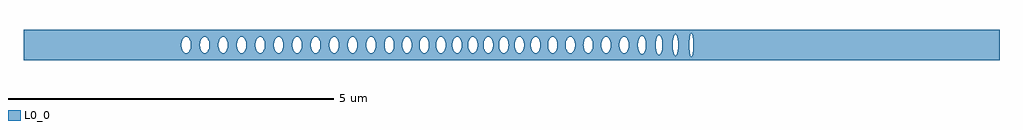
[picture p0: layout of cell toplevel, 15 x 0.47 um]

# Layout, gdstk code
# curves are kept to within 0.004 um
import gdstk
lib = gdstk.Library(unit=1e-6, precision=1e-09)
def P(c, l, *ps):  # polygons
    for p in ps: c.add(gdstk.Polygon(p, *l))
L0_0 = (0, 0)

toplevel = lib.new_cell('toplevel')
P(toplevel, L0_0, [(-4.459,-0.234),(-4.459,-0.119),(-4.491,-0.075),(-4.504,-0.016),(-4.498,0.054),(-4.482,0.093),(-4.459,0.119),(-4.459,0.234),(-7.5,0.234),(-7.5,-0.008),(-5.073,-0.008),(-5.068,0.047),(-5.05,0.093),(-5.027,0.119),(-5.001,0.128),(-4.974,0.119),(-4.951,0.093),(-4.933,0.047),(-4.928,-0.008),(-4.789,-0.008),(-4.784,0.047),(-4.766,0.093),(-4.743,0.119),(-4.716,0.128),(-4.69,0.119),(-4.67,0.098),(-4.655,0.068),(-4.644,0.016),(-4.647,-0.039),(-4.658,-0.075),(-4.681,-0.112),(-4.716,-0.128),(-4.743,-0.119),(-4.766,-0.093),(-4.784,-0.047),(-4.789,-0.008),(-4.928,-0.008),(-4.939,-0.068),(-4.954,-0.098),(-4.974,-0.119),(-5.001,-0.128),(-5.027,-0.119),(-5.047,-0.098),(-5.062,-0.068),(-5.073,-0.008),(-7.5,-0.008),(-7.5,-0.234)],
  [(-3.935,0.016),(-3.931,0.047),(-3.913,0.093),(-3.898,0.112),(-3.877,0.125),(-3.85,0.125),(-3.829,0.112),(-3.814,0.093),(-3.796,0.047),(-3.796,0.234),(-4.459,0.234),(-4.459,0.119),(-4.432,0.128),(-4.418,0.125),(-4.389,0.103),(-4.373,0.075),(-4.363,0.039),(-4.36,-0.016),(-4.22,-0.016),(-4.217,0.039),(-4.206,0.075),(-4.183,0.112),(-4.148,0.128),(-4.121,0.119),(-4.098,0.093),(-4.08,0.047),(-4.075,0.008),(-4.08,-0.047),(-4.098,-0.093),(-4.121,-0.119),(-4.148,-0.128),(-4.174,-0.119),(-4.194,-0.098),(-4.209,-0.068),(-4.22,-0.016),(-4.36,-0.016),(-4.373,-0.075),(-4.393,-0.108),(-4.405,-0.119),(-4.432,-0.128),(-4.459,-0.119),(-4.459,-0.234),(-3.796,-0.234),(-3.796,-0.048),(-3.814,-0.093),(-3.837,-0.119),(-3.863,-0.128),(-3.886,-0.121),(-3.91,-0.098),(-3.925,-0.068),(-3.935,-0.024)],
  [(-3.792,-0.016),(-3.796,-0.234),(-3.083,-0.234),(-3.083,0.234),(-3.796,0.234),(-3.796,0.045),(-3.791,0),(-3.652,0),(-3.645,0.054),(-3.629,0.093),(-3.606,0.119),(-3.579,0.128),(-3.552,0.119),(-3.526,0.087),(-3.51,0.039),(-3.507,-0.016),(-3.367,-0.016),(-3.362,0.047),(-3.351,0.081),(-3.334,0.108),(-3.295,0.128),(-3.268,0.119),(-3.236,0.075),(-3.222,0),(-3.236,-0.075),(-3.256,-0.108),(-3.281,-0.125),(-3.308,-0.125),(-3.334,-0.108),(-3.356,-0.068),(-3.367,-0.016),(-3.507,-0.016),(-3.518,-0.068),(-3.533,-0.098),(-3.552,-0.119),(-3.579,-0.128),(-3.606,-0.119),(-3.629,-0.093),(-3.645,-0.054),(-3.652,0),(-3.791,0)],
  [(-3.082,0.024),(-3.072,0.068),(-3.057,0.098),(-3.037,0.119),(-3.011,0.128),(-2.984,0.119),(-2.961,0.093),(-2.943,0.047),(-2.938,0),(-2.799,0),(-2.79,0.061),(-2.769,0.103),(-2.74,0.125),(-2.708,0.123),(-2.687,0.108),(-2.673,0.087),(-2.654,0.016),(-2.656,-0.032),(-2.665,-0.068),(-2.691,-0.112),(-2.726,-0.128),(-2.753,-0.119),(-2.765,-0.108),(-2.79,-0.061),(-2.799,0),(-2.938,0),(-2.943,-0.047),(-2.964,-0.098),(-2.988,-0.121),(-3.011,-0.128),(-3.024,-0.125),(-3.045,-0.112),(-3.06,-0.093),(-3.078,-0.047),(-3.083,-0.008),(-3.083,-0.234),(-2.477,-0.234),(-2.477,-0.112),(-2.498,-0.081),(-2.514,-0.016),(-2.512,0.032),(-2.503,0.068),(-2.477,0.112),(-2.477,0.234),(-3.083,0.234)],
  [(-2.469,0.119),(-2.442,0.128),(-2.428,0.125),(-2.399,0.103),(-2.376,0.054),(-2.37,-0.008),(-2.231,-0.008),(-2.226,0.047),(-2.205,0.098),(-2.177,0.123),(-2.145,0.125),(-2.12,0.108),(-2.1,0.075),(-2.088,0.032),(-2.086,-0.008),(-2.097,-0.068),(-2.112,-0.098),(-2.132,-0.119),(-2.159,-0.128),(-2.185,-0.119),(-2.205,-0.098),(-2.22,-0.068),(-2.231,-0.008),(-2.37,-0.008),(-2.378,-0.061),(-2.407,-0.112),(-2.442,-0.128),(-2.477,-0.112),(-2.477,-0.234),(-1.848,-0.234),(-1.848,-0.115),(-1.879,-0.128),(-1.914,-0.112),(-1.938,-0.075),(-1.951,-0.016),(-1.945,0.054),(-1.922,0.103),(-1.906,0.119),(-1.879,0.128),(-1.848,0.115),(-1.848,0.234),(-2.477,0.234),(-2.477,0.112)],
  [(-1.848,0.234),(-1.848,0.115),(-1.82,0.075),(-1.81,0.039),(-1.807,-0.016),(-1.678,-0.016),(-1.675,0.039),(-1.662,0.081),(-1.641,0.112),(-1.606,0.128),(-1.579,0.119),(-1.556,0.093),(-1.54,0.054),(-1.533,0),(-1.54,-0.054),(-1.556,-0.093),(-1.579,-0.119),(-1.606,-0.128),(-1.632,-0.119),(-1.652,-0.098),(-1.667,-0.068),(-1.678,-0.016),(-1.807,-0.016),(-1.82,-0.075),(-1.848,-0.115),(-1.848,-0.234),(-1.271,-0.234),(-1.271,-0.035),(-1.282,-0.075),(-1.298,-0.103),(-1.314,-0.119),(-1.341,-0.128),(-1.367,-0.119),(-1.387,-0.098),(-1.402,-0.068),(-1.413,-0.016),(-1.41,0.039),(-1.397,0.081),(-1.38,0.108),(-1.354,0.125),(-1.327,0.125),(-1.302,0.108),(-1.282,0.075),(-1.271,0.032),(-1.271,0.234)],
  [(-1.271,-0.234),(-0.608,-0.234),(-0.608,-0.125),(-0.629,-0.112),(-0.644,-0.093),(-0.658,-0.061),(-0.666,-0.016),(-0.664,0.032),(-0.653,0.075),(-0.633,0.108),(-0.608,0.125),(-0.608,0.234),(-1.271,0.234),(-1.268,-0.008),(-1.157,-0.008),(-1.152,0.047),(-1.134,0.093),(-1.111,0.119),(-1.084,0.128),(-1.058,0.119),(-1.035,0.093),(-1.015,0.039),(-1.012,-0.016),(-0.908,-0.016),(-0.906,0.032),(-0.895,0.075),(-0.871,0.112),(-0.836,0.128),(-0.809,0.119),(-0.786,0.093),(-0.77,0.054),(-0.764,0.016),(-0.766,-0.032),(-0.777,-0.075),(-0.801,-0.112),(-0.836,-0.128),(-0.863,-0.119),(-0.886,-0.093),(-0.908,-0.016),(-1.012,-0.016),(-1.023,-0.068),(-1.038,-0.098),(-1.058,-0.119),(-1.084,-0.128),(-1.111,-0.119),(-1.134,-0.093),(-1.152,-0.047),(-1.157,-0.008),(-1.268,-0.008)],
  [(-0.19,0.016),(-0.177,0.075),(-0.145,0.119),(-0.119,0.128),(-0.105,0.125),(-0.084,0.112),(-0.069,0.093),(-0.069,0.234),(-0.608,0.234),(-0.608,0.125),(-0.594,0.128),(-0.567,0.119),(-0.541,0.087),(-0.525,0.039),(-0.522,-0.016),(-0.428,-0.016),(-0.425,0.039),(-0.412,0.081),(-0.391,0.112),(-0.356,0.128),(-0.329,0.119),(-0.306,0.093),(-0.29,0.054),(-0.283,0),(-0.29,-0.054),(-0.306,-0.093),(-0.329,-0.119),(-0.356,-0.128),(-0.382,-0.119),(-0.402,-0.098),(-0.417,-0.068),(-0.428,-0.016),(-0.522,-0.016),(-0.535,-0.075),(-0.555,-0.108),(-0.58,-0.125),(-0.608,-0.125),(-0.608,-0.234),(-0.069,-0.234),(-0.069,-0.093),(-0.084,-0.112),(-0.105,-0.125),(-0.132,-0.125),(-0.153,-0.112),(-0.18,-0.068),(-0.19,-0.024)],
  [(-0.047,-0.026),(-0.069,-0.093),(-0.069,-0.234),(0.566,-0.234),(0.566,-0.047),(0.561,-0.016),(0.566,0.234),(-0.069,0.234),(-0.069,0.093),(-0.051,0.047),(-0.046,-0.008),(0.049,-0.008),(0.054,0.047),(0.072,0.093),(0.095,0.119),(0.122,0.128),(0.156,0.112),(0.18,0.075),(0.192,0.032),(0.193,-0.016),(0.299,-0.016),(0.305,0.054),(0.328,0.103),(0.357,0.125),(0.371,0.128),(0.398,0.119),(0.417,0.098),(0.432,0.068),(0.441,0.032),(0.443,-0.016),(0.424,-0.087),(0.41,-0.108),(0.389,-0.123),(0.357,-0.125),(0.332,-0.108),(0.312,-0.075),(0.299,-0.016),(0.193,-0.016),(0.183,-0.068),(0.168,-0.098),(0.148,-0.119),(0.122,-0.128),(0.095,-0.119),(0.075,-0.098),(0.06,-0.068),(0.049,-0.008),(-0.046,-0.008)],
  [(1.107,0.016),(1.12,0.075),(1.152,0.119),(1.152,0.234),(0.566,0.234),(0.566,0.047),(0.577,0.081),(0.594,0.108),(0.615,0.123),(0.638,0.127),(0.668,0.112),(0.692,0.075),(0.702,0.039),(0.705,-0.008),(0.832,-0.008),(0.837,0.047),(0.855,0.093),(0.878,0.119),(0.905,0.128),(0.931,0.119),(0.951,0.098),(0.966,0.068),(0.977,0.008),(0.972,-0.047),(0.954,-0.093),(0.931,-0.119),(0.905,-0.128),(0.878,-0.119),(0.858,-0.098),(0.843,-0.068),(0.832,-0.008),(0.705,-0.008),(0.699,-0.054),(0.683,-0.093),(0.66,-0.119),(0.633,-0.128),(0.606,-0.119),(0.594,-0.108),(0.566,-0.048),(0.566,-0.234),(1.152,-0.234),(1.152,-0.119),(1.129,-0.093),(1.115,-0.061)],
  [(1.659,0.016),(1.669,0.068),(1.695,0.112),(1.73,0.128),(1.753,0.121),(1.753,0.234),(1.152,0.234),(1.152,0.119),(1.179,0.128),(1.206,0.119),(1.218,0.108),(1.235,0.081),(1.246,0.047),(1.251,-0.016),(1.381,-0.016),(1.384,0.039),(1.397,0.081),(1.418,0.112),(1.453,0.128),(1.48,0.119),(1.503,0.093),(1.521,0.047),(1.526,0),(1.521,-0.047),(1.503,-0.093),(1.48,-0.119),(1.453,-0.128),(1.427,-0.119),(1.407,-0.098),(1.392,-0.068),(1.381,-0.016),(1.251,-0.016),(1.24,-0.068),(1.218,-0.108),(1.206,-0.119),(1.179,-0.128),(1.152,-0.119),(1.152,-0.234),(1.753,-0.234),(1.753,-0.121),(1.73,-0.128),(1.717,-0.125),(1.684,-0.098),(1.663,-0.047)],
  [(2.217,0.019),(2.23,0.105),(2.243,0.135),(2.262,0.153),(2.275,0.153),(2.293,0.135),(2.314,0.074),(2.314,0.234),(1.753,0.234),(1.753,0.121),(1.777,0.098),(1.794,0.061),(1.803,0.008),(1.801,-0.018),(1.943,-0.018),(1.947,0.052),(1.957,0.09),(1.975,0.123),(1.997,0.14),(2.021,0.136),(2.042,0.114),(2.06,0.068),(2.067,0.018),(2.063,-0.052),(2.053,-0.09),(2.032,-0.127),(2.013,-0.14),(1.986,-0.134),(1.962,-0.103),(1.943,-0.018),(1.801,-0.018),(1.789,-0.075),(1.777,-0.098),(1.753,-0.121),(1.753,-0.234),(2.314,-0.234),(2.314,-0.075),(2.304,-0.112),(2.287,-0.143),(2.275,-0.153),(2.255,-0.149),(2.24,-0.13),(2.224,-0.082)],
  [(7.5,-0.234),(7.5,0.234),(2.314,0.234),(2.314,0.071),(2.32,-0.01),(2.478,-0.01),(2.482,0.071),(2.493,0.129),(2.507,0.159),(2.518,0.167),(2.536,0.155),(2.551,0.114),(2.561,0.042),(2.561,-0.034),(2.733,-0.034),(2.741,0.123),(2.749,0.158),(2.763,0.18),(2.774,0.171),(2.785,0.139),(2.796,0.034),(2.788,-0.123),(2.78,-0.158),(2.767,-0.18),(2.755,-0.171),(2.744,-0.139),(2.733,-0.034),(2.561,-0.034),(2.547,-0.129),(2.531,-0.162),(2.518,-0.167),(2.507,-0.159),(2.493,-0.129),(2.478,-0.01),(2.32,-0.01),(2.314,-0.074),(2.314,-0.234)])

lib.write_gds('toplevel.gds')
